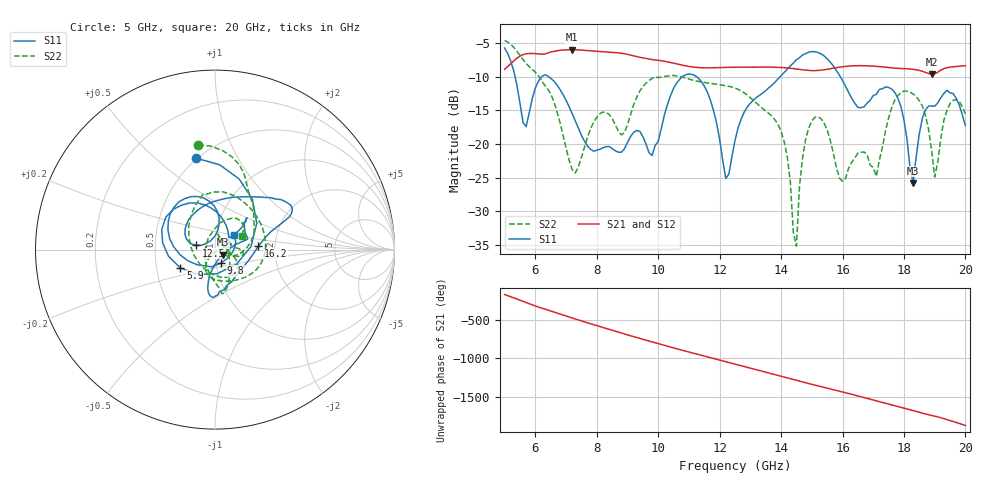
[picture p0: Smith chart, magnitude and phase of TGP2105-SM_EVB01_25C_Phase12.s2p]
! Date: Wednesday, June 05, 2013  1:50 PM
! Filename: C:\Data\Mike_Arnold\TGP2105-SM\Over_Temp\TGP2105-SM_EVB01_25C_Phase12.s2p
! Comments:
!^VDC(V):5.000
!^VDC(mA):0.118
!%Freq(GHz),S11(dB),S11(ang),S21(dB),S21(ang),S12(dB),S12(ang),S22(dB),S22(ang)
# GHz  S  DB  R  50
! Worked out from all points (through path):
!   151 points, 5 GHz to 20 GHz, reference 50 ohm
!   highest |S21| = -5.94 dB at 7.2 GHz (marker M1); lowest = -9.6 dB at 18.9 GHz (marker M2)
!   lowest |S11| = -25.8 dB at 18.3 GHz (marker M3), VSWR 1.11, Z = 54.4 - j3.09 ohm
!   |S11| at or under -10 dB: 6.445 GHz to 10.78 GHz (4.331 GHz wide, 50.3 % of centre); 11.26 GHz to 13.96 GHz (2.704 GHz wide, 21.4 % of centre); 15.93 GHz to end of sweep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
!   |S22| runs from -35.2 to -4.6 dB; largest |S21 - S12| = 0.0022
!   S11 on the Smith chart (normalised r, x): 5 GHz: 0.49, +0.69; 5.9 GHz: 0.66, -0.14; 9.8 GHz: 1.06, -0.16; 12.5 GHz: 0.81, +0.04; 16.2 GHz: 1.63, +0.06; 20 GHz: 1.22, +0.21
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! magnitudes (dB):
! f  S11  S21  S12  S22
! 5 GHz  -5.7  -8.8  -8.9  -4.6
! 5.6 GHz  -16.8  -6.7  -6.7  -7.4
! 5.9 GHz  -13.2  -6.5  -6.5  -8.9
! 7.2 GHz  -15.5  -5.9  -6.0  -23.8
! 7.5 GHz  -18.7  -6.0  -6.0  -22.0
! 9.8 GHz  -21.7  -7.4  -7.4  -10.2
! 10 GHz  -19.6  -7.5  -7.5  -10.1
! 11 GHz  -9.5  -8.4  -8.5  -10.3
! 11.7 GHz  -13.5  -8.6  -8.7  -10.9
! 12.2 GHz  -25.1  -8.6  -8.6  -11.3
! 12.5 GHz  -19.5  -8.5  -8.6  -11.7
! 14 GHz  -9.8  -8.6  -8.6  -18.1
! 14.5 GHz  -7.4  -8.8  -8.8  -35.2
! 14.7 GHz  -6.7  -8.9  -9.0  -22.0
! 15 GHz  -6.2  -9.1  -9.1  -16.6
! 16.2 GHz  -12.3  -8.4  -8.4  -23.6
! 17.1 GHz  -12.6  -8.4  -8.4  -24.8
! 17.5 GHz  -11.6  -8.6  -8.6  -16.1
! 18.3 GHz  -25.8  -8.9  -8.9  -12.6
! 18.9 GHz  -14.3  -9.6  -9.6  -20.9
! 19 GHz  -14.4  -9.5  -9.6  -24.9
! 20 GHz  -17.3  -8.3  -8.4  -15.5
